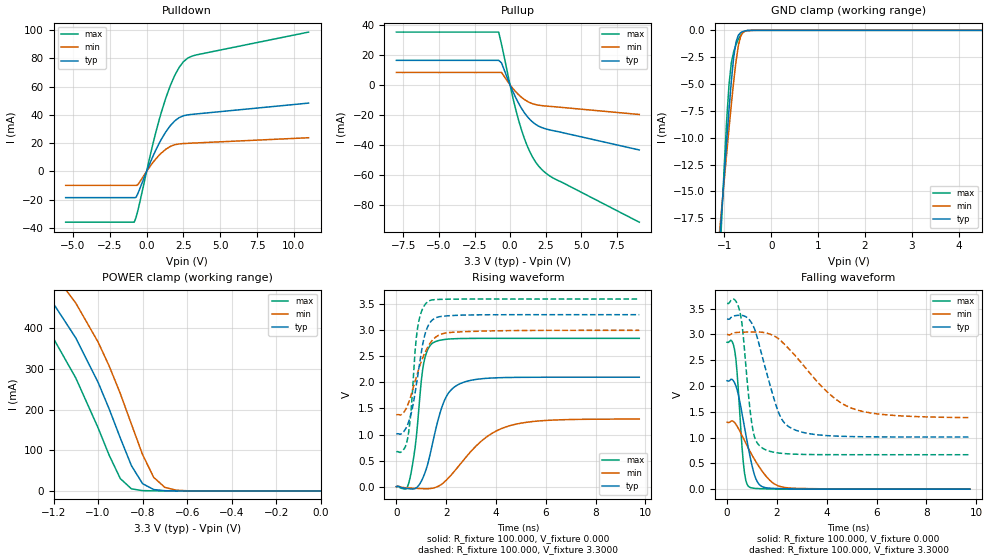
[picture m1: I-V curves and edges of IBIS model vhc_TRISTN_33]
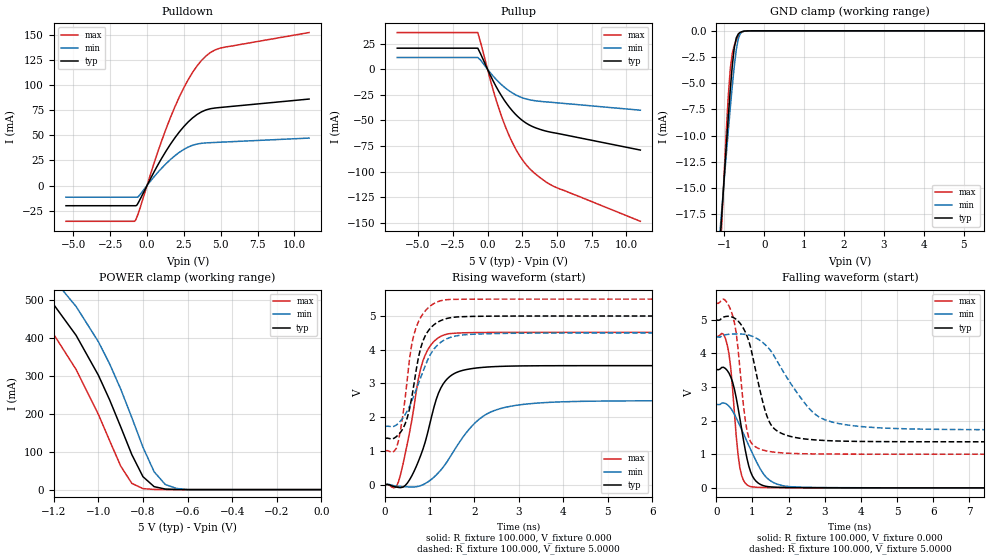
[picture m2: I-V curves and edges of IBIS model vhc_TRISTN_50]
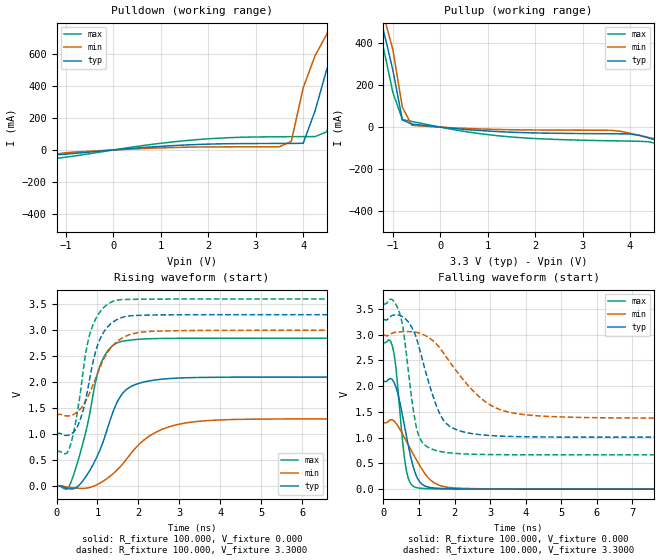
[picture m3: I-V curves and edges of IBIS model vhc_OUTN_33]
| NXP Semiconductors
| Logic Products Group
| IBIS model of 74VHC595
| 8-BIT SERIAL-IN/SERIAL OR PAR-OUT SHIFT REGISTER WITH OUTPUT LATCHES; 3-STATE
|[Packages]:
|[Package1]: SO 16-pin (D) Package ;
|[Package2]: TSSOP 16-pin (PW) Package ;
[IBIS Ver]   3.2
[File Name]   74vhc595.ibs
[File Rev]   1.0
[Date]   01-Apr-2010
[Source]   File created from simulations
   NXP Semiconductors
[Notes]   V1.0   Ibis model.
| Remarks:
| - The Power Clamp curves for the input models have been omitted since there
|   is no power clamp diode.
| - The pulldown and pullup tables of the Tristate Output models contain
|   post-processed data points outside the nominal voltage range.
[Disclaimer]
    (C) Copyright 2010 NXP Semiconductors
    All rights reserved
    NXP Semiconductors warrants and represents that the IBIS model
    identified herein is owned by NXP Semiconductors (NXP). The
    model provided is not warranted as fully representing all of the
    operating characteristics and specifications of the semiconductor
    products to which the model relates.  Moreover, unless there is a
    signed, written agreement to the contrary, this IBIS model is
    furnished on an "as is" basis without support or warranty of any
    kind, either expressed or implied, regarding the use thereof, and
    NXP specifically disclaims all implied warranties of
    merchantability and fitness of the model for any purpose.
    NXP does not assume any liability arising out of the application
    or use of this IBIS model including infringement of patents and
    copyrights, nor does NXP convey any license under its patents and
    copyrights or the rights of others.
    NXP provides IBIS models as a service to our customers. You and
    your company shall not distribute, convey, sell, or give these models
    to anyone else without receiving prior written permission from
    NXP.
    NXP reserves the right to make changes without notice to these
    IBIS models to improve reliability, function, or design.
    Please be aware that your receipt and subsequent use of the IBIS
    information provided shall serve as acceptance of the terms and
    conditions of this agreement.  If you do not accept these terms,
    you should return or destroy the IBIS models and any other
    accompanying information immediately.
|   Info for  SO 16-pin (D) Package
[Component]   74VHC595_1
[Manufacturer]   NXP Semiconductors
[Package]
|   typ   min   max
R_pkg   1.75E-01   1.28E-01   2.11E-01
L_pkg   5.03E-09   3.94E-09   6.26E-09
C_pkg   0.794E-12  0.715E-12  0.869E-12
[Pin] signal_name   model_name   R_pin   L_pin   C_pin
   1   Q1   vhc_tristn 1.99E-01 6.26E-09 0.822E-12
   2   Q2   vhc_tristn 2.11E-01 5.46E-09 0.869E-12
   3   Q3   vhc_tristn 1.56E-01 4.44E-09 0.760E-12
   4   Q4   vhc_tristn 1.28E-01 3.94E-09 0.717E-12
   5   Q5   vhc_tristn 1.28E-01 3.94E-09 0.715E-12
   6   Q6   vhc_tristn 1.56E-01 4.44E-09 0.760E-12
   7   Q7   vhc_tristn 2.11E-01 5.46E-09 0.869E-12
   8   GND   GND 1.99E-01 6.26E-09 0.843E-12
   9   Q7B   vhc_outn 1.99E-01 6.26E-09 0.843E-12
   10   MR#   vhc_ctrlin 2.11E-01 5.46E-09 0.869E-12
   11   SHCP   vhc_ctrlin 1.56E-01 4.44E-09 0.760E-12
   12   STCP   vhc_ctrlin 1.28E-01 3.94E-09 0.717E-12
   13   OE#   vhc_ctrlin 1.28E-01 3.94E-09 0.715E-12
   14   DS   vhc_in 1.56E-01 4.44E-09 0.760E-12
   15   Q0   vhc_tristn 2.11E-01 5.46E-09 0.869E-12
   16   VCC   POWER 1.99E-01 6.26E-09 0.843E-12
|   Info for  TSSOP 16-pin (PW) Package
[Component]   74VHC595_2
[Manufacturer]   NXP Semiconductors
[Package]
|   typ   min   max
R_pkg   3.95E-02   3.52E-02   4.56E-02
L_pkg   1.94E-09   1.65E-09   2.40E-09
C_pkg   0.446E-12  0.335E-12  0.771E-12
[Pin] signal_name   model_name   R_pin   L_pin   C_pin
   1   Q1   vhc_tristn 3.52E-02 2.40E-09 0.436E-12
   2   Q2   vhc_tristn 3.70E-02 1.93E-09 0.438E-12
   3   Q3   vhc_tristn 4.56E-02 1.76E-09 0.345E-12
   4   Q4   vhc_tristn 4.00E-02 1.65E-09 0.335E-12
   5   Q5   vhc_tristn 4.00E-02 1.65E-09 0.335E-12
   6   Q6   vhc_tristn 4.56E-02 1.76E-09 0.345E-12
   7   Q7   vhc_tristn 3.70E-02 1.93E-09 0.438E-12
   8   GND   GND 3.52E-02 2.40E-09 0.452E-12
   9   Q7B   vhc_outn 3.52E-02 2.40E-09 0.452E-12
   10   MR#   vhc_ctrlin 3.70E-02 1.93E-09 0.438E-12
   11   SHCP   vhc_ctrlin 4.56E-02 1.76E-09 0.345E-12
   12   STCP   vhc_ctrlin 4.00E-02 1.65E-09 0.771E-12
   13   OE#   vhc_ctrlin 4.00E-02 1.65E-09 0.771E-12
   14   DS   vhc_in 4.56E-02 1.76E-09 0.345E-12
   15   Q0   vhc_tristn 3.70E-02 1.93E-09 0.438E-12
   16   VCC   POWER 3.52E-02 2.40E-09 0.452E-12
[Model Selector]   vhc_tristn
| Remark: If your software does not support the Model Selector
|   Please comment out the lines of the Model Selector, which
|   contain the name of the Model, except the one you want to use.
vhc_TRISTN_33   3.3V-Vcc tristate output model, non-inverting
vhc_TRISTN_50   5.0V-Vcc tristate output model, non-inverting
[Model Selector]   vhc_outn
| Remark: If your software does not support the Model Selector
|   Please comment out the lines of the Model Selector, which
|   contain the name of the Model, except the one you want to use.
vhc_OUTN_33   3.3V-Vcc non-inverting output model
vhc_OUTN_50   5.0V-Vcc non-inverting output model
[Model Selector]   vhc_ctrlin
| Remark: If your software does not support the Model Selector
|   Please comment out the lines of the Model Selector, which
|   contain the name of the Model, except the one you want to use.
vhc_CTRLIN_33   3.3V-Vcc input model
vhc_CTRLIN_50   5.0V-Vcc input model
[Model Selector]   vhc_in
| Remark: If your software does not support the Model Selector
|   Please comment out the lines of the Model Selector, which
|   contain the name of the Model, except the one you want to use.
vhc_IN_33   3.3V-Vcc input model
vhc_IN_50   5.0V-Vcc input model
| Models and submodels in the file (8): vhc_TRISTN_33 (3-state), vhc_TRISTN_50 (3-state), vhc_OUTN_33 (Output), vhc_OUTN_50 (Output), vhc_CTRLIN_33 (Input), vhc_CTRLIN_50 (Input), vhc_IN_33 (Input), vhc_IN_50 (Input)
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|   Model vhc_TRISTN_33
[Model]   vhc_TRISTN_33
Model_type   3-state
Polarity   Non-Inverting
Enable   Active-Low
Vmeas =  1.6500V
Cref  = 50.0000pF
Rref  =  1.0000k
Vref  =  0.000V
C_comp   1.91pF   1.69pF   2.06pF
[Model Spec]
| Note: The input and output voltage ratings may be exceeded if the input and
|   output current ratings are observed (please refer to the data sheet)
|   Subparameter   typ   min   max
| Timing Thresholds
Vmeas   1.65   1.5   1.8
|Ambient temperature:   25.0000   85.0000   -40.0000
[Temperature Range]   40.0000   100.0000   -25.0000
[Voltage Range]   3.3000V   3.0000V   3.6000V
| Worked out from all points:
|   slope of the pulldown table from 0 to 0.495 V, typ, clamps not added: 40.6 ohm
|   slope of the pullup table from 0 to 0.495 V, typ, clamps not added: 48 ohm
|   GND clamp passes 1 mA (typ) near -0.74 V on its own axis
|   POWER clamp passes 1 mA (typ) near -0.71 V on its own axis
|   rising waveform, R_fixture 100.000, V_fixture 0.000: 20-80 % time 704ps typ, 1.63ns min, 369ps max; typ from 0 V to 2.1 V
|   rising waveform, R_fixture 100.000, V_fixture 3.3000: 20-80 % time 481ps typ, 700ps min, 295ps max; typ from 1.01 V to 3.3 V
|   falling waveform, R_fixture 100.000, V_fixture 0.000: 20-80 % time 503ps typ, 950ps min, 244ps max; typ from 2.1 V to 0 V
|   falling waveform, R_fixture 100.000, V_fixture 3.3000: 20-80 % time 819ps typ, 1.9ns min, 358ps max; typ from 3.3 V to 1.01 V
|Process Range   nominal   slow   fast
[Pulldown]
| voltage   I(typ)   I(min)   I(max)
-5.5V     -18.65mA   -9.941mA   -36.06mA
-850mV    -18.65mA   -9.941mA   -36.06mA
-750mV    -18.65mA   -9.941mA   -33.53mA
-650mV    -16.96mA   -9.941mA   -29.98mA
600mV     14.55mA    8.477mA    26.63mA
1V        22.72mA    12.97mA    41.89mA
1.3V      27.92mA    15.63mA    51.89mA
1.9V      35.65mA    18.84mA    67.8mA
2.2V      38.02mA    19.42mA    73.54mA
2.8V      40.02mA    19.85mA    80.34mA
3.4V      40.7mA     20.14mA    82.58mA
11V       48.36mA    23.8mA     98.7mA
[Pullup]
| voltage   I(typ)   I(min)   I(max)
-8V       16.3mA     8.225mA    35.13mA
-800mV    16.3mA     8.225mA    35.13mA
-600mV    14.61mA    8.225mA    27.1mA
200mV     -4.468mA   -2.432mA   -8.554mA
600mV     -12.26mA   -6.582mA   -23.5mA
800mV     -15.56mA   -8.288mA   -29.86mA
1.2V      -21mA      -10.96mA   -40.48mA
1.4V      -23.15mA   -11.93mA   -44.77mA
1.8V      -26.38mA   -13.21mA   -51.5mA
2.4V      -29.07mA   -14.06mA   -57.94mA
3V        -30.52mA   -14.54mA   -61.99mA
9.1V      -43.47mA   -19.82mA   -91.63mA
[GND_clamp]
| voltage   I(typ)   I(min)   I(max)
-5.5V     -326.4mA   -253mA     -481.8mA
-1.1V     -19.67mA   -18.71mA   -21.66mA
-1.05V    -16.51mA   -16.29mA   -17.03mA
-950mV    -10.33mA   -11.49mA   -8.423mA
-900mV    -7.404mA   -9.148mA   -5.064mA
-850mV    -4.721mA   -6.888mA   -3.009mA
-800mV    -2.511mA   -4.766mA   -1.992mA
-750mV    -1.085mA   -2.883mA   -1.337mA
-700mV    -452uA     -1.415mA   -826.9uA
-650mV    -209uA     -538.2uA   -437.6uA
-600mV    -98.22uA   -179.8uA   -180.4uA
5.5V      11.69pA    1.114nA    26.72fA
[POWER_clamp]
| voltage   I(typ)   I(min)   I(max)
-8V       7.239A     7.225A     7.29A
-1.4V     583.2mA    642.1mA    516.2mA
-1.3V     526.6mA    592.3mA    451.5mA
-1.2V     460mA      534.5mA    374.5mA
-1.1V     376.1mA    461.7mA    277.6mA
-1V       267.1mA    366.1mA    155.3mA
-900mV    130mA      239.1mA    30.29mA
-850mV    62.01mA    163.9mA    5.107mA
-800mV    17.82mA    89.09mA    766uA
-750mV    3.349mA    33.29mA    182.3uA
-650mV    98.73uA    1.922mA    13.29uA
0V        9.635pA    1.114nA    26.58fA
[Ramp]
| variable   typ   min   max
dV/dt_r   1.260V/703.830ps   778.197mV/1.629ns   1.708V/368.978ps
dV/dt_f   1.374V/818.371ps   968.655mV/1.899ns   1.760V/358.459ps
R_load = 100.000
[Rising Waveform]
R_fixture   = 100.000
V_fixture   = 0.000
V_fixture_min = 0.000
V_fixture_max = 0.000
| time   V(typ)   V(min)   V(max)
0s        20.14pV    4.919nV    193.2fV
500ps     -39.94mV   -26.28mV   72.53mV
750ps     -37.41mV   -32.73mV   746.2mV
1.1ns     207.6mV    -40.02mV   2.374V
1.45ns    826.1mV    -30.16mV   2.754V
2ns       1.724V     122mV      2.828V
2.75ns    2.011V     540.7mV    2.844V
3.7ns     2.081V     979.8mV    2.846V
4.8ns     2.097V     1.199V     2.846V
9.75ns    2.1V       1.297V     2.846V
[Rising Waveform]
R_fixture   = 100.000
V_fixture   = 3.3000
V_fixture_min = 3.0000
V_fixture_max = 3.6000
| time   V(typ)   V(min)   V(max)
0s        1.01V      1.378V     667.1mV
250ps     1.031V     1.399V     688.7mV
450ps     1.19V      1.561V     921.4mV
600ps     1.415V     1.771V     1.518V
750ps     1.796V     2.019V     2.596V
850ps     2.107V     2.181V     3.041V
1.1ns     2.831V     2.523V     3.457V
1.3ns     3.11V      2.712V     3.562V
2.2ns     3.283V     2.961V     3.598V
9.75ns    3.3V       3V         3.6V
[Falling Waveform]
R_fixture   = 100.000
V_fixture   = 0.000
V_fixture_min = 0.000
V_fixture_max = 0.000
| time   V(typ)   V(min)   V(max)
0s        2.1V       1.298V     2.846V
300ps     2.062V     1.291V     2.704V
400ps     1.93V      1.222V     2.269V
650ps     1.332V     990.3mV    525.9mV
750ps     1.064V     892.7mV    172.6mV
900ps     683.8mV    750.7mV    38.89mV
1.2ns     154.7mV    497.6mV    12.66mV
1.55ns    28.87mV    260mV      5.928mV
2.55ns    6.059mV    21.28mV    974uV
9.75ns    2.007uV    149uV      8.081nV
[Falling Waveform]
R_fixture   = 100.000
V_fixture   = 3.3000
V_fixture_min = 3.0000
V_fixture_max = 3.6000
| time   V(typ)   V(min)   V(max)
0s        3.3V       3V         3.6V
300ps     3.359V     3.031V     3.673V
500ps     3.369V     3.039V     3.464V
600ps     3.366V     3.041V     3.198V
1ns       3.208V     3.046V     1.247V
1.45ns    2.499V     3.037V     786.8mV
2.15ns    1.395V     2.88V      696.4mV
2.8ns     1.135V     2.55V      676.6mV
5ns       1.019V     1.569V     667.4mV
9.75ns    1.01V      1.387V     667.1mV
|   Model vhc_TRISTN_50
[Model]   vhc_TRISTN_50
Model_type   3-state
Polarity   Non-Inverting
Enable   Active-Low
Vmeas =  2.5000V
Cref  = 50.0000pF
Rref  =  1.0000k
Vref  =  0.000V
C_comp   1.87pF   1.65pF   2.06pF
[Model Spec]
| Note: The input and output voltage ratings may be exceeded if the input and
|   output current ratings are observed (please refer to the data sheet)
|   Subparameter   typ   min   max
| Timing Thresholds
Vmeas   2.5   2.25   2.75
|Ambient temperature:   25.0000   85.0000   -40.0000
[Temperature Range]   55.0000   110.0000   -5.0000
[Voltage Range]   5.0000V   4.5000V   5.5000V
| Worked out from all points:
|   slope of the pulldown table from 0 to 0.75 V, typ, clamps not added: 35.9 ohm
|   slope of the pullup table from 0 to 0.75 V, typ, clamps not added: 37.3 ohm
|   GND clamp passes 1 mA (typ) near -0.72 V on its own axis
|   POWER clamp passes 1 mA (typ) near -0.68 V on its own axis
|   rising waveform, R_fixture 100.000, V_fixture 0.000: 20-80 % time 484ps typ, 870ps min, 387ps max; typ from 0 V to 3.53 V
|   rising waveform, R_fixture 100.000, V_fixture 5.0000: 20-80 % time 335ps typ, 525ps min, 302ps max; typ from 1.37 V to 5 V
|   falling waveform, R_fixture 100.000, V_fixture 0.000: 20-80 % time 363ps typ, 662ps min, 219ps max; typ from 3.53 V to 0 V
|   falling waveform, R_fixture 100.000, V_fixture 5.0000: 20-80 % time 491ps typ, 1.05ns min, 267ps max; typ from 5 V to 1.37 V
|Process Range   nominal   slow   fast
[Pulldown]
| voltage   I(typ)   I(min)   I(max)
-5.5V     -20.14mA   -11.62mA   -35.69mA
-800mV    -20.14mA   -11.62mA   -35.08mA
-700mV    -19.68mA   -11.62mA   -31.99mA
-550mV    -16mA      -10.4mA    -25.91mA
900mV     24.8mA     15.82mA    40.71mA
1.9V      47.82mA    29.88mA    78.86mA
2.5V      58.9mA     36.09mA    97.69mA
3.1V      67.6mA     40.25mA    113.1mA
3.7V      73.58mA    42.17mA    124.9mA
4.3V      76.67mA    42.8mA     132.8mA
5.2V      78.24mA    43.41mA    137.9mA
11V       86.34mA    47.39mA    152.7mA
[Pullup]
| voltage   I(typ)   I(min)   I(max)
-6.5V     20.6mA     11.51mA    35.85mA
-700mV    20.6mA     11.51mA    35.85mA
-500mV    15.04mA    8.968mA    26.19mA
400mV     -11.3mA    -6.597mA   -20.04mA
1V        -25.86mA   -14.97mA   -45.68mA
1.4V      -33.96mA   -19.51mA   -59.89mA
1.8V      -40.81mA   -23.24mA   -71.95mA
2.2V      -46.46mA   -26.16mA   -81.98mA
2.8V      -52.78mA   -29.1mA    -93.55mA
3.6V      -57.89mA   -31.03mA   -103.9mA
4.8V      -62.1mA    -32.51mA   -114.6mA
11V       -78.91mA   -39.99mA   -148.5mA
[GND_clamp]
| voltage   I(typ)   I(min)   I(max)
-5.5V     -304.5mA   -244.2mA   -420.2mA
-1.1V     -19.69mA   -18.77mA   -21.33mA
-1.05V    -16.75mA   -16.43mA   -17.29mA
-950mV    -10.98mA   -11.8mA    -9.563mA
-900mV    -8.204mA   -9.542mA   -6.196mA
-850mV    -5.603mA   -7.345mA   -3.627mA
-800mV    -3.321mA   -5.26mA    -2.156mA
-750mV    -1.61mA    -3.368mA   -1.394mA
-700mV    -670.1uA   -1.809mA   -885.2uA
-650mV    -293.5uA   -765.1uA   -505.1uA
-600mV    -140.8uA   -268.3uA   -241.8uA
5.5V      96.66pA    4.219nA    176.5fA
[POWER_clamp]
| voltage   I(typ)   I(min)   I(max)
-6.5V     5.675A     5.697A     5.658A
-1.4V     604.6mA    657mA      542.5mA
-1.3V     550.2mA    608.6mA    481.1mA
-1.2V     486.4mA    552.5mA    408.1mA
-1.1V     405.9mA    481.9mA    316mA
-1V       300.9mA    389.1mA    197.8mA
-900mV    165.3mA    264.7mA    62.02mA
-850mV    92.07mA    189.5mA    16.45mA
-800mV    34.01mA    111.5mA    2.611mA
-750mV    7.798mA    46.99mA    458.1uA
-650mV    259.5uA    3.101mA    34.68uA
0V        0A         0A         0A
[Ramp]
| variable   typ   min   max
dV/dt_r   2.117V/484.036ps   1.493V/869.945ps   2.708V/386.776ps
dV/dt_f   2.177V/490.725ps   1.664V/1.052ns   2.698V/266.680ps
R_load = 100.000
[Rising Waveform]
R_fixture   = 100.000
V_fixture   = 0.000
V_fixture_min = 0.000
V_fixture_max = 0.000
| time   V(typ)   V(min)   V(max)
0s        402.7pV    18.45nV    554fV
250ps     -70.7mV    -40.04mV   -66.92mV
550ps     146.5mV    -67.64mV   1.552V
750ps     700.4mV    -47.98mV   3.155V
850ps     1.054V     -604.3uV   3.671V
1.15ns    2.537V     290.5mV    4.31V
1.3ns     2.979V     512.1mV    4.427V
2.1ns     3.466V     1.928V     4.51V
2.9ns     3.517V     2.344V     4.513V
9.75ns    3.528V     2.488V     4.514V
[Rising Waveform]
R_fixture   = 100.000
V_fixture   = 5.0000
V_fixture_min = 4.5000
V_fixture_max = 5.5000
| time   V(typ)   V(min)   V(max)
0s        1.371V     1.726V     1.003V
200ps     1.376V     1.73V      988mV
300ps     1.483V     1.822V     1.298V
500ps     1.994V     2.191V     3.146V
600ps     2.594V     2.483V     4.174V
700ps     3.416V     2.826V     4.673V
900ps     4.41V      3.52V      5.151V
1.2ns     4.831V     4.168V     5.432V
2.35ns    4.995V     4.476V     5.5V
9.75ns    5V         4.5V       5.5V
[Falling Waveform]
R_fixture   = 100.000
V_fixture   = 0.000
V_fixture_min = 0.000
V_fixture_max = 0.000
| time   V(typ)   V(min)   V(max)
0s        3.528V     2.488V     4.514V
200ps     3.586V     2.528V     4.57V
300ps     3.495V     2.48V      4.261V
400ps     3.299V     2.366V     3.555V
550ps     2.682V     2.084V     1.555V
650ps     2.075V     1.854V     607.2mV
900ps     642.3mV    1.258V     55.68mV
1.35ns    51.62mV    354.2mV    9.705mV
1.95ns    11.11mV    46.71mV    2.913mV
9.75ns    370.1nV    29.5uV     3.983nV
[Falling Waveform]
R_fixture   = 100.000
V_fixture   = 5.0000
V_fixture_min = 4.5000
V_fixture_max = 5.5000
| time   V(typ)   V(min)   V(max)
0s        5V         4.5V       5.5V
250ps     5.096V     4.554V     5.579V
450ps     5.077V     4.575V     5.131V
550ps     5.014V     4.578V     4.612V
850ps     4.517V     4.556V     1.692V
1.15ns    3.18V      4.428V     1.181V
1.6ns     1.763V     3.924V     1.063V
2.5ns     1.449V     2.449V     1.013V
3.1ns     1.404V     1.99V      1.006V
9.75ns    1.371V     1.727V     1.003V
|   Model vhc_OUTN_33
[Model]   vhc_OUTN_33
Model_type   Output
Polarity   Non-Inverting
Vmeas =  1.6500V
Cref  = 50.0000pF
Rref  =  1.0000k
Vref  =  0.000V
C_comp   1.06pF   0.81pF   1.41pF
[Model Spec]
| Note: The input and output voltage ratings may be exceeded if the input and
|   output current ratings are observed (please refer to the data sheet)
|   Subparameter   typ   min   max
| Timing Thresholds
Vmeas   1.65   1.5   1.8
|Ambient temperature:   25.0000   85.0000   -40.0000
[Temperature Range]   40.0000   100.0000   -25.0000
[Voltage Range]   3.3000V   3.0000V   3.6000V
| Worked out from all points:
|   slope of the pulldown table from 0 to 0.495 V, typ, clamps not added: 40.6 ohm
|   slope of the pullup table from 0 to 0.495 V, typ, clamps not added: 48 ohm
|   rising waveform, R_fixture 100.000, V_fixture 0.000: 20-80 % time 629ps typ, 1.02ns min, 491ps max; typ from 0 V to 2.1 V
|   rising waveform, R_fixture 100.000, V_fixture 3.3000: 20-80 % time 417ps typ, 588ps min, 377ps max; typ from 1.01 V to 3.3 V
|   falling waveform, R_fixture 100.000, V_fixture 0.000: 20-80 % time 380ps typ, 652ps min, 235ps max; typ from 2.1 V to 0 V
|   falling waveform, R_fixture 100.000, V_fixture 3.3000: 20-80 % time 616ps typ, 1.2ns min, 337ps max; typ from 3.3 V to 1.01 V
|Process Range   nominal   slow   fast
[Pulldown]
| voltage   I(typ)   I(min)   I(max)
-5.5V     -326.6mA   -253.2mA   -482.2mA
-1.45V    -44.94mA   -37.29mA   -64.32mA
1.5V      30.92mA    17.03mA    57.82mA
3.5V      40.79mA    20.17mA    82.81mA
3.75V     40.99mA    53.6mA     83.31mA
4V        41.59mA    388.9mA    83.52mA
4.25V     244.3mA    591.1mA    83.73mA
4.5V      507.9mA    727mA      114mA
4.75V     664.2mA    947.1mA    418.5mA
5V        873.2mA    1.192A     612.4mA
5.25V     1.119A     1.44A      813.3mA
11V       6.98A      7.272A     6.712A
[Pullup]
| voltage   I(typ)   I(min)   I(max)
-8V       7.278A     7.263A     7.325A
-1.4V     584.4mA    642.8mA    518.3mA
-1.2V     461.8mA    535.5mA    377.9mA
-1V       270.8mA    367.9mA    164.9mA
-800mV    34.12mA    95.02mA    35.95mA
-600mV    14.63mA    8.639mA    27.14mA
1.4V      -23.15mA   -11.93mA   -44.89mA
3.6V      -31.55mA   -15.1mA    -64.99mA
4.4V      -52.14mA   -49.23mA   -69.57mA
5V        -93.49mA   -81.31mA   -119.8mA
8.2V      -325.2mA   -256.3mA   -473.6mA
9.1V      -390.9mA   -305.9mA   -574.1mA
[Ramp]
| variable   typ   min   max
dV/dt_r   1.260V/629.194ps   778.575mV/1.017ns   1.709V/490.834ps
dV/dt_f   1.374V/615.856ps   972.742mV/1.199ns   1.760V/336.809ps
R_load = 100.000
[Rising Waveform]
R_fixture   = 100.000
V_fixture   = 0.000
V_fixture_min = 0.000
V_fixture_max = 0.000
| time   V(typ)   V(min)   V(max)
0s        20.14pV    4.919nV    198.3fV
300ps     -43.13mV   -17.14mV   -13.19mV
700ps     168.2mV    -36.86mV   1V
1.05ns    680mV      57.66mV    2.293V
1.25ns    1.13V      159.8mV    2.605V
1.5ns     1.65V      332.8mV    2.764V
1.75ns    1.887V     565mV      2.807V
2.25ns    2.025V     958.3mV    2.836V
3.2ns     2.088V     1.225V     2.847V
9.75ns    2.1V       1.298V     2.848V
[Rising Waveform]
R_fixture   = 100.000
V_fixture   = 3.3000
V_fixture_min = 3.0000
V_fixture_max = 3.6000
| time   V(typ)   V(min)   V(max)
0s        1.01V      1.378V     667.1mV
300ps     986.3mV    1.355V     699mV
500ps     1.136V     1.426V     1.384V
700ps     1.623V     1.624V     2.5V
850ps     2.239V     1.871V     3.02V
1.05ns    2.812V     2.268V     3.343V
1.4ns     3.17V      2.728V     3.563V
1.8ns     3.278V     2.919V     3.594V
2.4ns     3.294V     2.982V     3.599V
9.75ns    3.3V       3V         3.6V
[Falling Waveform]
R_fixture   = 100.000
V_fixture   = 0.000
V_fixture_min = 0.000
V_fixture_max = 0.000
| time   V(typ)   V(min)   V(max)
0s        2.1V       1.298V     2.848V
250ps     2.127V     1.348V     2.787V
350ps     1.99V      1.286V     2.374V
550ps     1.384V     1.054V     851.4mV
650ps     1.023V     924.2mV    347.9mV
750ps     682.4mV    794.3mV    125.9mV
900ps     300.5mV    604.9mV    34.97mV
1.35ns    29.11mV    162.8mV    7.99mV
1.9ns     8.704mV    29.77mV    2.631mV
9.75ns    128.3nV    10.27uV    3.953nV
[Falling Waveform]
R_fixture   = 100.000
V_fixture   = 3.3000
V_fixture_min = 3.0000
V_fixture_max = 3.6000
| time   V(typ)   V(min)   V(max)
0s        3.3V       3V         3.6V
250ps     3.374V     3.033V     3.683V
450ps     3.378V     3.056V     3.432V
550ps     3.346V     3.06V      3.14V
950ps     2.885V     3.044V     1.134V
1.35ns    1.903V     2.908V     781.7mV
1.9ns     1.207V     2.439V     702.2mV
2.7ns     1.06V      1.792V     675.3mV
3.4ns     1.028V     1.519V     669.6mV
9.75ns    1.01V      1.379V     667.1mV
